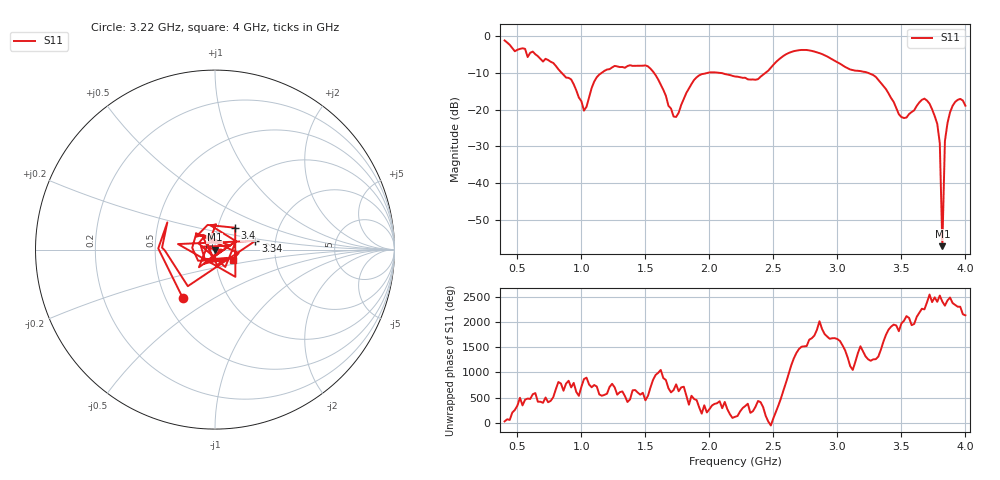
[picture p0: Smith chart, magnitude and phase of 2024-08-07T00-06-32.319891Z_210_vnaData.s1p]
!Created with skrf (http://scikit-rf.org).
# Hz S RI R 50.0
!freq ReS11 ImS11
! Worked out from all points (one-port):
!   181 points, 400 MHz to 4 GHz, reference 50 ohm
!   lowest |S11| = -57.1 dB at 3.82 GHz (marker M1), VSWR 1.00, Z = 49.9 - j0.123 ohm
!   |S11| at or under -10 dB: 1.567 GHz to 1.986 GHz (419.2 MHz wide, 23.6 % of centre); 2.087 GHz to 2.439 GHz (352.5 MHz wide, 15.6 % of centre); 3.24 GHz to end of sweep (the widest 3 of 4)
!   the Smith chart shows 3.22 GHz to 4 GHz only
!   S11 on the Smith chart (normalised r, x): 3.22 GHz: 0.61, -0.37; 3.34 GHz: 1.57, +0.16; 3.4 GHz: 1.21, +0.30; 4 GHz: 1.21, -0.14
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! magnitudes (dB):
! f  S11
! 400 MHz  -1.2
! 860 MHz  -10.5
! 920 MHz  -11.8
! 1.02 GHz  -20.3
! 1.12 GHz  -11.2
! 1.3 GHz  -8.4
! 1.52 GHz  -8.2
! 1.6 GHz  -11.8
! 1.72 GHz  -21.9
! 1.76 GHz  -20.8
! 1.92 GHz  -10.7
! 2.2 GHz  -11.0
! 2.38 GHz  -11.7
! 2.66 GHz  -4.1
! 3.1 GHz  -9.1
! 3.22 GHz  -9.8
! 3.34 GHz  -12.8
! 3.4 GHz  -15.6
! 3.5 GHz  -22.0
! 3.56 GHz  -21.2
! 3.68 GHz  -17.0
! 3.78 GHz  -23.8
! 3.8 GHz  -29.1
! 3.82 GHz  -57.1
! 3.84 GHz  -28.5
! 3.86 GHz  -23.7
! 3.92 GHz  -17.9
! 4 GHz  -18.9
